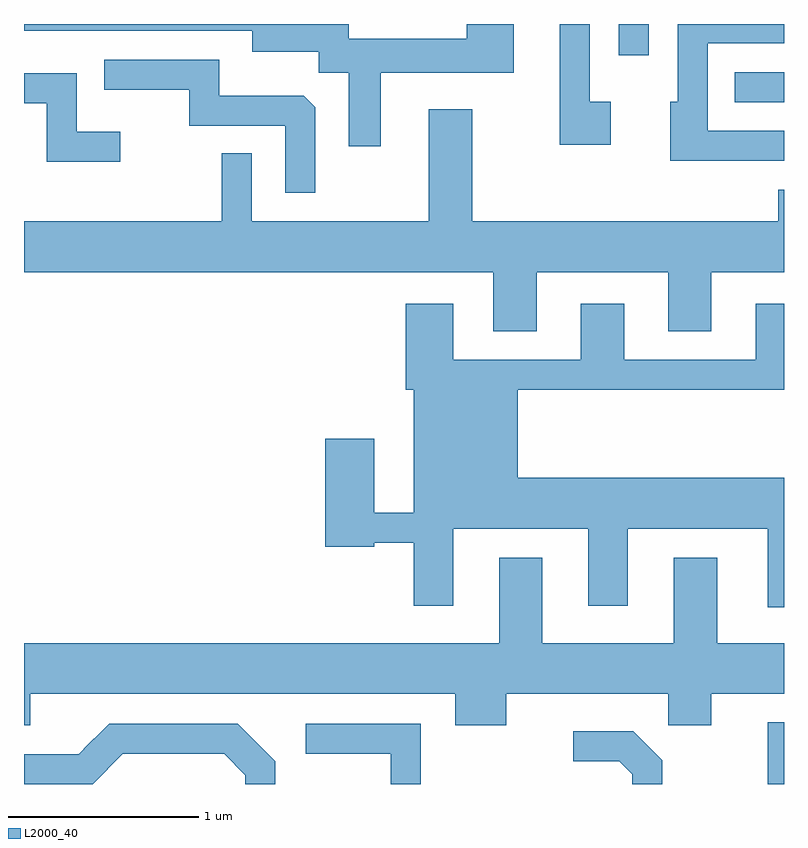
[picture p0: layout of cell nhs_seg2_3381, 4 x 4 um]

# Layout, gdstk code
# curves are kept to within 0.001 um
import gdstk
lib = gdstk.Library(unit=1e-6, precision=1e-09)
def R(c, l, rs):  # rectangles x0, y0, x1, y1
    for r in rs: c.add(gdstk.rectangle(r[:2], r[2:], *l))
def P(c, l, *ps):  # polygons
    for p in ps: c.add(gdstk.Polygon(p, *l))
L2000_40 = (2000, 40)

nhs_seg2_3381 = lib.new_cell('nhs_seg2_3381')
R(nhs_seg2_3381, L2000_40, [(287.526,1087.802,287.611,1088.128), (287.353,1091.391,287.611,1091.549), (286.741,1091.638,286.899,1091.802)])
P(nhs_seg2_3381, L2000_40, [(286.699,1091.394),(286.589,1091.394),(286.589,1091.802),(286.431,1091.802),(286.431,1091.166),(286.699,1091.166)],
  [(285.489,1091.546),(286.189,1091.546),(286.189,1091.802),(285.941,1091.802),(285.941,1091.724),(285.319,1091.724),(285.319,1091.802),(283.611,1091.802),(283.611,1091.766),(284.811,1091.766),(284.811,1091.656),(285.161,1091.656),(285.161,1091.546),(285.321,1091.546),(285.321,1091.158),(285.489,1091.158)],
  [(287.611,1091.239),(287.209,1091.239),(287.209,1091.701),(287.611,1091.701),(287.611,1091.802),(287.051,1091.802),(287.051,1091.394),(287.011,1091.394),(287.011,1091.081),(287.611,1091.081)],
  [(285.144,1091.364),(285.084,1091.424),(284.639,1091.424),(284.639,1091.614),(284.033,1091.614),(284.033,1091.456),(284.481,1091.456),(284.481,1091.266),(284.986,1091.266),(284.986,1090.913),(285.144,1090.913)],
  [(284.118,1091.234),(283.889,1091.234),(283.889,1091.544),(283.611,1091.544),(283.611,1091.386),(283.731,1091.386),(283.731,1091.076),(284.118,1091.076)],
  [(286.309,1090.496),(287.001,1090.496),(287.001,1090.186),(287.229,1090.186),(287.229,1090.496),(287.611,1090.496),(287.611,1090.929),(287.581,1090.929),(287.581,1090.764),(285.969,1090.764),(285.969,1091.354),(285.741,1091.354),(285.741,1090.764),(284.809,1090.764),(284.809,1091.123),(284.651,1091.123),(284.651,1090.764),(283.611,1090.764),(283.611,1090.496),(286.081,1090.496),(286.081,1090.186),(286.309,1090.186)],
  [(287.611,1089.414),(286.209,1089.414),(286.209,1089.876),(287.611,1089.876),(287.611,1090.329),(287.461,1090.329),(287.461,1090.034),(286.769,1090.034),(286.769,1090.329),(286.541,1090.329),(286.541,1090.034),(285.869,1090.034),(285.869,1090.329),(285.621,1090.329),(285.621,1089.876),(285.661,1089.876),(285.661,1089.229),(285.454,1089.229),(285.454,1089.619),(285.196,1089.619),(285.196,1089.051),(285.454,1089.051),(285.454,1089.071),(285.661,1089.071),(285.661,1088.741),(285.869,1088.741),(285.869,1089.146),(286.581,1089.146),(286.581,1088.741),(286.789,1088.741),(286.789,1089.146),(287.526,1089.146),(287.526,1088.733),(287.611,1088.733)],
  [(286.149,1088.276),(287.001,1088.276),(287.001,1088.111),(287.229,1088.111),(287.229,1088.276),(287.611,1088.276),(287.611,1088.544),(287.259,1088.544),(287.259,1088.994),(287.031,1088.994),(287.031,1088.544),(286.339,1088.544),(286.339,1088.994),(286.111,1088.994),(286.111,1088.544),(283.611,1088.544),(283.611,1088.111),(283.644,1088.111),(283.644,1088.276),(285.881,1088.276),(285.881,1088.111),(286.149,1088.111)],
  [(284.132,1087.961),(284.664,1087.961),(284.776,1087.849),(284.776,1087.802),(284.934,1087.802),(284.934,1087.922),(284.737,1088.119),(284.059,1088.119),(283.899,1087.959),(283.611,1087.959),(283.611,1087.802),(283.973,1087.802)],
  [(285.699,1088.119),(285.093,1088.119),(285.093,1087.961),(285.541,1087.961),(285.541,1087.802),(285.699,1087.802)],
  [(286.969,1087.927),(286.817,1088.079),(286.503,1088.079),(286.503,1087.921),(286.744,1087.921),(286.811,1087.854),(286.811,1087.802),(286.969,1087.802)])

lib.write_gds('nhs_seg2_3381.gds')
